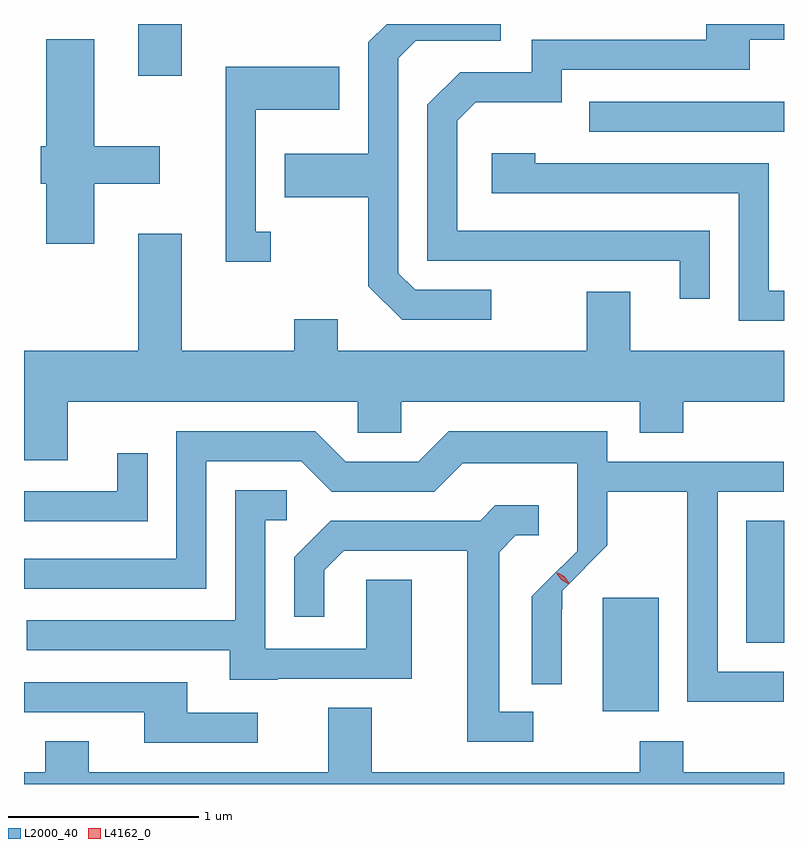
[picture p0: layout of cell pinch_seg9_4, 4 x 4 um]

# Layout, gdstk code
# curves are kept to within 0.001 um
import gdstk
lib = gdstk.Library(unit=1e-6, precision=1e-09)
def R(c, l, rs):  # rectangles x0, y0, x1, y1
    for r in rs: c.add(gdstk.rectangle(r[:2], r[2:], *l))
def P(c, l, *ps):  # polygons
    for p in ps: c.add(gdstk.Polygon(p, *l))
L2000_40 = (2000, 40)
L4162_0 = (4162, 0)

pinch_seg9_4 = lib.new_cell('pinch_seg9_4')
R(pinch_seg9_4, L2000_40, [(1908.756,1992.406,1909.049,1993.004), (1909.511,1992.766,1909.709,1993.409), (1908.683,1995.456,1909.709,1995.614), (1906.311,1995.751,1906.539,1996.023)])
P(pinch_seg9_4, L2000_40, [(1908.168,1994.624),(1907.767,1994.624),(1907.679,1994.712),(1907.679,1995.844),(1907.772,1995.936),(1908.218,1995.936),(1908.218,1996.023),(1907.618,1996.023),(1907.521,1995.927),(1907.521,1995.339),(1907.081,1995.339),(1907.081,1995.111),(1907.521,1995.111),(1907.521,1994.644),(1907.699,1994.466),(1908.168,1994.466)],
  [(1909.319,1994.934),(1907.989,1994.934),(1907.989,1995.514),(1908.087,1995.611),(1908.539,1995.611),(1908.539,1995.781),(1909.529,1995.781),(1909.529,1995.941),(1909.709,1995.941),(1909.709,1996.023),(1909.301,1996.023),(1909.301,1995.939),(1908.381,1995.939),(1908.381,1995.769),(1908.004,1995.769),(1907.831,1995.597),(1907.831,1994.776),(1909.161,1994.776),(1909.161,1994.578),(1909.319,1994.578)],
  [(1906.079,1995.181),(1906.424,1995.181),(1906.424,1995.379),(1906.079,1995.379),(1906.079,1995.944),(1905.826,1995.944),(1905.826,1995.379),(1905.796,1995.379),(1905.796,1995.181),(1905.826,1995.181),(1905.826,1994.866),(1906.079,1994.866)],
  [(1907.008,1994.929),(1906.929,1994.929),(1906.929,1995.571),(1907.369,1995.571),(1907.369,1995.799),(1906.771,1995.799),(1906.771,1994.771),(1907.008,1994.771)],
  [(1909.709,1994.619),(1909.629,1994.619),(1909.629,1995.289),(1908.399,1995.289),(1908.399,1995.344),(1908.171,1995.344),(1908.171,1995.131),(1909.471,1995.131),(1909.471,1994.461),(1909.709,1994.461)],
  [(1905.939,1994.036),(1907.466,1994.036),(1907.466,1993.871),(1907.694,1993.871),(1907.694,1994.036),(1908.951,1994.036),(1908.951,1993.871),(1909.179,1993.871),(1909.179,1994.036),(1909.709,1994.036),(1909.709,1994.304),(1908.899,1994.304),(1908.899,1994.614),(1908.671,1994.614),(1908.671,1994.304),(1907.359,1994.304),(1907.359,1994.469),(1907.131,1994.469),(1907.131,1994.304),(1906.539,1994.304),(1906.539,1994.919),(1906.311,1994.919),(1906.311,1994.304),(1905.709,1994.304),(1905.709,1994.036),(1905.711,1994.036),(1905.711,1993.726),(1905.939,1993.726)],
  [(1909.708,1992.614),(1909.359,1992.614),(1909.359,1993.561),(1909.708,1993.561),(1909.708,1993.719),(1908.779,1993.719),(1908.779,1993.879),(1907.944,1993.879),(1907.784,1993.719),(1907.402,1993.719),(1907.242,1993.879),(1906.511,1993.879),(1906.511,1993.209),(1905.709,1993.209),(1905.709,1993.051),(1906.669,1993.051),(1906.669,1993.721),(1907.169,1993.721),(1907.329,1993.561),(1907.867,1993.561),(1908.017,1993.711),(1908.621,1993.711),(1908.62,1993.249),(1908.381,1993.012),(1908.381,1992.548),(1908.539,1992.548),(1908.539,1992.942),(1908.541,1992.942),(1908.541,1993.041),(1908.779,1993.279),(1908.779,1993.561),(1909.201,1993.561),(1909.201,1992.456),(1909.708,1992.456)],
  [(1906.359,1993.763),(1906.201,1993.763),(1906.201,1993.564),(1905.709,1993.564),(1905.709,1993.406),(1906.359,1993.406)],
  [(1907.045,1992.576),(1907.749,1992.576),(1907.749,1993.099),(1907.511,1993.099),(1907.511,1992.734),(1906.979,1992.734),(1906.979,1993.411),(1907.093,1993.411),(1907.093,1993.569),(1906.821,1993.569),(1906.821,1992.884),(1905.723,1992.884),(1905.723,1992.726),(1906.791,1992.726),(1906.791,1992.571),(1907.045,1992.571)],
  [(1908.388,1992.404),(1908.209,1992.404),(1908.209,1993.244),(1908.297,1993.331),(1908.418,1993.331),(1908.418,1993.489),(1908.189,1993.489),(1908.109,1993.409),(1907.324,1993.409),(1907.131,1993.217),(1907.131,1992.903),(1907.289,1992.903),(1907.289,1993.149),(1907.392,1993.251),(1908.041,1993.251),(1908.041,1992.246),(1908.388,1992.246)],
  [(1906.938,1992.399),(1906.569,1992.399),(1906.569,1992.559),(1905.709,1992.559),(1905.709,1992.401),(1906.341,1992.401),(1906.341,1992.241),(1906.938,1992.241)],
  [(1909.709,1992.084),(1909.179,1992.084),(1909.179,1992.249),(1908.951,1992.249),(1908.951,1992.084),(1907.539,1992.084),(1907.539,1992.424),(1907.311,1992.424),(1907.311,1992.084),(1906.049,1992.084),(1906.049,1992.249),(1905.821,1992.249),(1905.821,1992.084),(1905.709,1992.084),(1905.709,1992.023),(1909.709,1992.023)])
P(pinch_seg9_4, L4162_0, [(1908.575,1993.075),(1908.536,1993.098),(1908.51,1993.135),(1908.51,1993.135),(1908.51,1993.135),(1908.549,1993.113),(1908.576,1993.076),(1908.576,1993.075)],
  [(1908.574,1993.083),(1908.54,1993.102),(1908.517,1993.135),(1908.517,1993.135),(1908.518,1993.135),(1908.553,1993.117),(1908.575,1993.084),(1908.575,1993.083)])

lib.write_gds('pinch_seg9_4.gds')
